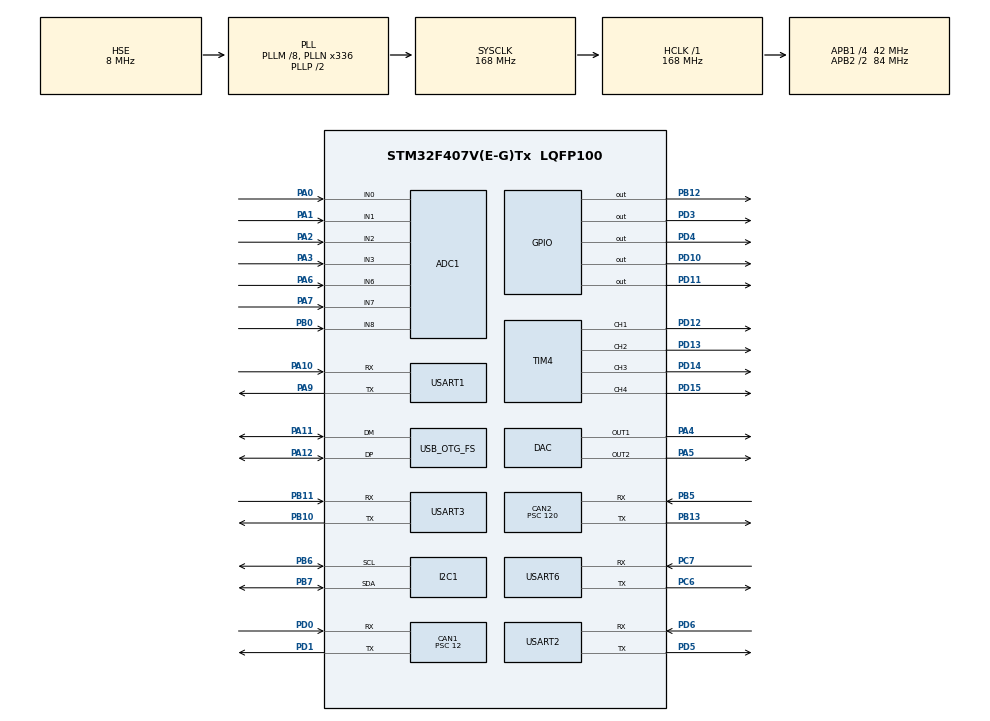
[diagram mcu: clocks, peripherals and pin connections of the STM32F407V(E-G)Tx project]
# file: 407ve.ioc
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ADC1.Channel-1\#ChannelRegularConversion=ADC_CHANNEL_0
ADC1.ContinuousConvMode=ENABLE
ADC1.NbrOfConversion=1
ADC1.NbrOfConversionFlag=1
ADC1.Rank-1\#ChannelRegularConversion=1
ADC1.SamplingTime-1\#ChannelRegularConversion=ADC_SAMPLETIME_15CYCLES
ADC1.ScanConvMode=DISABLE
ADC1.master=1
CAN1.ABOM=ENABLE
CAN1.AWUM=ENABLE
CAN1.BS1=CAN_BS1_4TQ
CAN1.BS2=CAN_BS2_2TQ
CAN1.CalculateBaudRate=500000
CAN1.CalculateTimeBit=2000
CAN1.CalculateTimeQuantum=285.7142857142857
CAN1.NART=ENABLE
CAN1.Prescaler=12
CAN2.ABOM=ENABLE
CAN2.AWUM=ENABLE
CAN2.BS1=CAN_BS1_3TQ
CAN2.BS2=CAN_BS2_3TQ
CAN2.CalculateBaudRate=50000
CAN2.CalculateTimeBit=20000
CAN2.CalculateTimeQuantum=2857.1428571428573
CAN2.Prescaler=120
CAN2.TTCM=DISABLE
Mcu.Family=STM32F4
Mcu.Name=STM32F407V(E-G)Tx
Mcu.Package=LQFP100
NVIC.CAN1_RX0_IRQn=true\:0\:0\:false\:false\:true\:true\:true\:true
NVIC.OTG_FS_IRQn=true\:0\:0\:false\:false\:true\:false\:true\:true
NVIC.PriorityGroup=NVIC_PRIORITYGROUP_4
PA0-WKUP.Signal=ADCx_IN0
PA1.Signal=ADCx_IN1
PA10.Mode=Asynchronous
PA10.Signal=USART1_RX
PA11.Mode=Device_Only
PA11.Signal=USB_OTG_FS_DM
PA12.Mode=Device_Only
PA12.Signal=USB_OTG_FS_DP
PA13.Mode=Serial_Wire
PA13.Signal=SYS_JTMS-SWDIO
PA14.Mode=Serial_Wire
PA14.Signal=SYS_JTCK-SWCLK
PA2.Signal=ADCx_IN2
PA3.Signal=ADCx_IN3
PA4.Signal=COMP_DAC1_group
PA5.Signal=COMP_DAC2_group
PA6.Signal=ADCx_IN6
PA7.Signal=ADCx_IN7
PA9.Mode=Asynchronous
PA9.Signal=USART1_TX
PB0.Signal=ADCx_IN8
PB10.Mode=Asynchronous
PB10.Signal=USART3_TX
PB11.Mode=Asynchronous
PB11.Signal=USART3_RX
PB12.Signal=GPIO_Output
PB13.Mode=CAN_Activate
PB13.Signal=CAN2_TX
PB5.Mode=CAN_Activate
PB5.Signal=CAN2_RX
PB6.Mode=I2C
PB6.Signal=I2C1_SCL
PB7.Mode=I2C
PB7.Signal=I2C1_SDA
PC6.Mode=Asynchronous
PC6.Signal=USART6_TX
PC7.Mode=Asynchronous
PC7.Signal=USART6_RX
PD0.Mode=CAN_Activate
PD0.Signal=CAN1_RX
PD1.Mode=CAN_Activate
PD1.Signal=CAN1_TX
PD10.Signal=GPIO_Output
PD11.Signal=GPIO_Output
PD12.Signal=S_TIM4_CH1
PD13.Signal=S_TIM4_CH2
PD14.Signal=S_TIM4_CH3
PD15.Signal=S_TIM4_CH4
PD3.Signal=GPIO_Output
PD4.Signal=GPIO_Output
PD5.Mode=Asynchronous
PD5.Signal=USART2_TX
PD6.Mode=Asynchronous
PD6.Signal=USART2_RX
PH0-OSC_IN.Mode=HSE-External-Oscillator
PH0-OSC_IN.Signal=RCC_OSC_IN
PH1-OSC_OUT.Mode=HSE-External-Oscillator
PH1-OSC_OUT.Signal=RCC_OSC_OUT
ProjectManager.HeapSize=0x2000
ProjectManager.StackSize=0x1400
ProjectManager.TargetToolchain=STM32CubeIDE
RCC.48MHZClocksFreq_Value=48000000
RCC.AHBFreq_Value=168000000
RCC.APB1CLKDivider=RCC_HCLK_DIV4
RCC.APB1Freq_Value=42000000
RCC.APB1TimFreq_Value=84000000
RCC.APB2CLKDivider=RCC_HCLK_DIV2
RCC.APB2Freq_Value=84000000
RCC.APB2TimFreq_Value=168000000
RCC.CortexFreq_Value=168000000
RCC.HCLKFreq_Value=168000000
RCC.HSE_VALUE=8000000
RCC.HSI_VALUE=16000000
RCC.LSE_VALUE=32768
RCC.PLLM=8
RCC.PLLN=336
RCC.PLLQ=7
RCC.SYSCLKFreq_VALUE=168000000
RCC.SYSCLKSource=RCC_SYSCLKSOURCE_PLLCLK
RCC.VCOOutputFreq_Value=336000000
SH.ADCx_IN0.0=ADC1_IN0,IN0
SH.ADCx_IN1.0=ADC1_IN1,IN1
SH.ADCx_IN2.0=ADC1_IN2,IN2
SH.ADCx_IN3.0=ADC1_IN3,IN3
SH.ADCx_IN6.0=ADC1_IN6,IN6
SH.ADCx_IN7.0=ADC1_IN7,IN7
SH.ADCx_IN8.0=ADC1_IN8,IN8
SH.COMP_DAC1_group.0=DAC_OUT1,DAC_OUT1
SH.COMP_DAC2_group.0=DAC_OUT2,DAC_OUT2
SH.S_TIM4_CH1.0=TIM4_CH1,PWM Generation1 CH1
SH.S_TIM4_CH2.0=TIM4_CH2,PWM Generation2 CH2
SH.S_TIM4_CH3.0=TIM4_CH3,PWM Generation3 CH3
SH.S_TIM4_CH4.0=TIM4_CH4,PWM Generation4 CH4
TIM4.Channel-PWM\ Generation1\ CH1=TIM_CHANNEL_1
TIM4.Channel-PWM\ Generation2\ CH2=TIM_CHANNEL_2
TIM4.Channel-PWM\ Generation3\ CH3=TIM_CHANNEL_3
TIM4.Channel-PWM\ Generation4\ CH4=TIM_CHANNEL_4
USART1.VirtualMode=VM_ASYNC
USART2.VirtualMode=VM_ASYNC
USART3.VirtualMode=VM_ASYNC
USART6.VirtualMode=VM_ASYNC
USB_DEVICE.CLASS_NAME_FS=CDC
USB_DEVICE.VirtualMode-CDC_FS=Cdc
USB_DEVICE.VirtualModeFS=Cdc_FS
USB_OTG_FS.VirtualMode=Device_Only
VP_USB_DEVICE_VS_USB_DEVICE_CDC_FS.Mode=CDC_FS
board=custom

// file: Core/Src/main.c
/* USER CODE BEGIN Header */
/**
  ******************************************************************************
  * @file           : main.c
  * @brief          : Main program body
  ******************************************************************************
  * @attention
  *
  * Copyright (c) 2023 STMicroelectronics.
  * All rights reserved.
  *
  * This software is licensed under terms that can be found in the LICENSE file
  * in the root directory of this software component.
  * If no LICENSE file comes with this software, it is provided AS-IS.
  *
  ******************************************************************************
  */
/* USER CODE END Header */
#include "main.h"
#include "usb_device.h"

/* USER CODE BEGIN Includes */
#include "math.h"
#include "stm32_port.h"
#include "esp_loader.h"
#include "example_common.h"
/* USER CODE END Includes */

/* USER CODE BEGIN PD */
#define HIGHER_BAUDRATE 230400

#define OFF_POWER	HAL_GPIO_WritePin(GPIOB, GPIO_PIN_12, GPIO_PIN_RESET)
#define ON_POWER	HAL_GPIO_WritePin(GPIOB, GPIO_PIN_12, GPIO_PIN_SET)
#define HOLD_ESP_IO0		HAL_GPIO_WritePin(GPIOD, GPIO_PIN_4, GPIO_PIN_SET)
#define RELEASE_ESP_IO0		HAL_GPIO_WritePin(GPIOD, GPIO_PIN_4, GPIO_PIN_RESET)

//#define _DEBUG_
//#define TEST_CAN
/* USER CODE END PD */

ADC_HandleTypeDef hadc1;

CAN_HandleTypeDef hcan1;
CAN_HandleTypeDef hcan2;

DAC_HandleTypeDef hdac;

I2C_HandleTypeDef hi2c1;

TIM_HandleTypeDef htim4;

UART_HandleTypeDef huart1;
UART_HandleTypeDef huart2;
UART_HandleTypeDef huart3;
UART_HandleTypeDef huart6;

/* USER CODE BEGIN PV */
extern uint8_t fTransmitCpt;
extern uint8_t fESPFlashProcess;
extern uint8_t uBuf[1024];
extern uint16_t current_len;
extern uint32_t written_len;
extern uint32_t binary_len;
extern uint8_t flash_block_len;

extern const uint8_t BlinkESP_ino_bin[];
extern const uint32_t BlinkESP_ino_bin_size ;
extern const uint8_t BlinkESP_ino_bootloader_bin[];
extern const uint32_t BlinkESP_ino_bootloader_bin_size ;
extern const uint8_t BlinkESP_ino_partitions_bin[];
extern const uint32_t BlinkESP_ino_partitions_bin_size ;

uint8_t APPICATION_ROM_1[1024];
uint8_t APPICATION_ROM_1[1024];
uint8_t APPICATION_ROM_1[1024];
uint8_t APPICATION_ROM_1[1024];
uint8_t APPICATION_ROM_1[1024];

/* USER CODE END PV */

void SystemClock_Config(void);
static void MX_GPIO_Init(void);
static void MX_ADC1_Init(void);
static void MX_DAC_Init(void);
static void MX_I2C1_Init(void);
static void MX_TIM4_Init(void);
static void MX_USART1_UART_Init(void);
static void MX_USART2_UART_Init(void);
static void MX_USART3_UART_Init(void);
static void MX_USART6_UART_Init(void);
static void MX_CAN1_Init(void);
static void MX_CAN2_Init(void);
/* USER CODE BEGIN PFP */
extern uint8_t CDC_Transmit_FS(uint8_t* Buf, uint16_t Len);
extern uint8_t SMV_Step;

#ifdef _DEBUG_
uint8_t debug_buf[4000] = {};
#endif

esp_loader_error_t ESP_FLASH_Start(uint32_t address, uint32_t size);
esp_loader_error_t ESP_FLASH_WriteBlock(uint8_t* payload, uint32_t size);
/* USER CODE END PFP */

/* USER CODE BEGIN 0 */
/*
 * Brief	: Copy len bytes of s to t from offset
 * @Param	: Source buffer
 * @Param	: Target buffer
 */
static void omemcpy(uint8_t *s, uint8_t *t, uint8_t offset, uint32_t len)
{
	for(uint32_t i = 0; i < len; i++)
	{
		t[i + offset] = s[i];
	}
}
/*
 * Brief	: Switch ADC channel, poll, get value
 * @Param	: ADC Channel
 * @retval	: 16bit ADC Value
 */
static uint16_t ADC_GetValueFromChannel(uint32_t c)
{
	/** Configure for the selected ADC regular channel its corresponding rank in the sequencer and its sample time.
  */
	HAL_ADC_Stop(&hadc1);
//	HAL_ADC_DeInit(&hadc1);
//	  /** Configure the global features of the ADC (Clock, Resolution, Data Alignment and number of conversion)
//	  */
//	  hadc1.Instance = ADC1;
//	  hadc1.Init.ClockPrescaler = ADC_CLOCK_SYNC_PCLK_DIV4;
//	  hadc1.Init.Resolution = ADC_RESOLUTION_12B;
//	  hadc1.Init.ScanConvMode = DISABLE;
//	  hadc1.Init.ContinuousConvMode = ENABLE;
//	  hadc1.Init.DiscontinuousConvMode = DISABLE;
//	  hadc1.Init.ExternalTrigConvEdge = ADC_EXTERNALTRIGCONVEDGE_NONE;
//	  hadc1.Init.ExternalTrigConv = ADC_SOFTWARE_START;
//	  hadc1.Init.DataAlign = ADC_DATAALIGN_RIGHT;
//	  hadc1.Init.NbrOfConversion = 1;
//	  hadc1.Init.DMAContinuousRequests = DISABLE;
//	  hadc1.Init.EOCSelection = ADC_EOC_SINGLE_CONV;
//	  if (HAL_ADC_Init(&hadc1) != HAL_OK)
//	  {
//	    Error_Handler();
//	  }

  ADC_ChannelConfTypeDef sConfig = {0};

  sConfig.Channel = c;
  sConfig.Rank = 1;
  sConfig.SamplingTime = ADC_SAMPLETIME_15CYCLES;

  if (HAL_ADC_ConfigChannel(&hadc1, &sConfig) != HAL_OK)
  {
	Error_Handler();
  }

  HAL_ADC_Start(&hadc1);
  HAL_ADC_PollForConversion(&hadc1, 1000);
  return HAL_ADC_GetValue(&hadc1);

}

CAN_TxHeaderTypeDef	TxHeader;
CAN_RxHeaderTypeDef	RxHeader;

uint32_t TxMailBox;
uint8_t CANTx_Dat[8], CANRx_Dat[8];

#ifdef TEST_CAN
uint16_t joystickAdcValue = 0, joystickbalanceAdcValue = 0;
/*
 * @brief: Convert from CAN frame to CANopen Frame
 * @param: id: Node ID
 * @param: index: 2bytes index + 1byte sub index
 * @param: data: maximum 4bytes of transceiving data
 * @param: len: data lenght, maximum 4 bytes
 * @param: rw: 0 to read (x40), 1 to write (x20)
 * @reval: HAL_Status
 */
HAL_StatusTypeDef CANopenSendSDO(uint8_t id, uint32_t index, uint32_t data, uint8_t len, uint8_t rw)
{
	uint8_t txbuf[8];
	TxHeader.DLC = 8;
	TxHeader.IDE = CAN_ID_STD;

	TxHeader.RTR = CAN_RTR_DATA;//sending data frame
	TxHeader.TransmitGlobalTime = DISABLE;
	TxHeader.StdId = 0x600+id;
	txbuf[0] = 0x2F;
	if(!rw) txbuf[0] = 0x4F;
	if(len == 2) txbuf[0] &= 0xFB;
	else if(len == 4) txbuf[0] &= 0xF3;

	txbuf[1] = (index>>8)&0xff;
	txbuf[2] = (index>>16)&0xff;
	txbuf[3] = index&0xff;

	txbuf[4] = data & 0xff;
	txbuf[5] = (data>>8)&0xff;
	txbuf[6] = (data>>16)&0xff;
	txbuf[7] = (data>>24)&0xff;
	return HAL_CAN_AddTxMessage(&hcan1, &TxHeader, txbuf, &TxMailBox);;
}
#endif
/* USER CODE END 0 */

int main(void)
{

  /* MCU Configuration--------------------------------------------------------*/

  /* Reset of all peripherals, Initializes the Flash interface and the Systick. */
  HAL_Init();

  /* Configure the system clock */
  SystemClock_Config();

  /* Initialize all configured peripherals */
  MX_GPIO_Init();
  MX_ADC1_Init();
  MX_DAC_Init();
  MX_I2C1_Init();
  MX_TIM4_Init();
  MX_USART1_UART_Init();
  MX_USART2_UART_Init();
  MX_USART3_UART_Init();
  MX_USART6_UART_Init();
  MX_USB_DEVICE_Init();
  MX_CAN1_Init();
  MX_CAN2_Init();
  /* USER CODE BEGIN 2 */

  /*
   * Initiate INA module
   */
  setCalibration_32V_2A();

  loader_stm32_config_t config = {
      .huart = &huart2,
      .port_io0 = GPIOD,
      .pin_num_io0 = GPIO_PIN_4,
      .port_rst = GPIOD,
      .pin_num_rst = GPIO_PIN_3,
  };

  loader_port_stm32_init(&config);

  uint16_t v = 0;
  uint8_t TxBuf[17] = "$             #\n\r",\
		  substr[11];

  OFF_POWER;

#ifdef TEST_CAN
  //Test CAN
HAL_CAN_ActivateNotification(&hcan1, CAN_IT_RX_FIFO0_MSG_PENDING);
HAL_CAN_Start(&hcan1);

////Boot up:
TxHeader.DLC = 8;
TxHeader.IDE = CAN_ID_STD;
TxHeader.StdId = 601;
TxHeader.RTR = CAN_RTR_DATA;//sending data frame
TxHeader.TransmitGlobalTime = DISABLE;
//CANTx_Dat[0] = 1;
//CANTx_Dat[1] = 1;
//HAL_CAN_AddTxMessage(&hcan1, &TxHeader, CANTx_Dat, &TxMailBox);
//
TxHeader.DLC = 8;
TxHeader.IDE = CAN_ID_STD;
TxHeader.RTR = CAN_RTR_DATA;//sending data frame
//TxHeader.StdId = 0x601;
//
//CANTx_Dat[0] = 0x2B;
//CANTx_Dat[1] = 0x40;
//CANTx_Dat[2] = 0x60;
//CANTx_Dat[3] = 0x00;
//CANTx_Dat[4] = 0x2F;
//CANTx_Dat[5] = 0x00;
//CANTx_Dat[6] = 0x00;
//CANTx_Dat[7] = 0x00;
//
//HAL_CAN_AddTxMessage(&hcan1, &TxHeader, CANTx_Dat, &TxMailBox);

//Enable Motor;
CANopenSendSDO(1, 0x604000, 0x2F, 2, 1);

//Set operation mode to Speed mode
CANopenSendSDO(1, 0x606000, 3, 1, 1);
joystickbalanceAdcValue = ADC_GetValueFromChannel(ADC_CHANNEL_8);
#endif
  /* USER CODE END 2 */

  /* Infinite loop */
  while (1)
  {

    /* USER CODE BEGIN 3 */
//	  CANopenSendSDO(1, 0x604000, 0x06, 2, 1);
#ifdef TEST_CAN
	  joystickAdcValue = ADC_GetValueFromChannel(ADC_CHANNEL_8);

	  if(joystickAdcValue > joystickbalanceAdcValue)
	  {
		  //Rotate Motor CW
		  CANopenSendSDO(1, 0x607E00, 0, 1, 1);
		  //Set target speed
		  uint16_t speed = joystickAdcValue - joystickbalanceAdcValue;
		  if(speed > 2000) speed = 2000;
		  if(speed < 100) speed = 0;
		  CANopenSendSDO(1, 0x60FF00, speed*2000, 4, 1);
	  }
	  else
	  {
		  //Rotate Motor CCW
		  CANopenSendSDO(1, 0x607E00, 1, 1, 1);
		  //Set target speed
		  uint16_t speed = joystickbalanceAdcValue - joystickAdcValue;
		  if(speed > 2000) speed = 2000;
		  if(speed < 100) speed = 0;
		  CANopenSendSDO(1, 0x60FF00, speed*2000, 4, 1);
	  }
#endif
//

	  switch(SMV_Step)
	  {
	  case IDLE:
		  break;
	  case POWER_ON:
		  ON_POWER;
		  HAL_Delay(200);
		  CDC_Transmit_FS((uint8_t*) "$PG           #\n\r", 17);
		  break;
	  case POWER_OFF:
		  OFF_POWER;
		  CDC_Transmit_FS((uint8_t*) "$PG           #\n\r", 17);
		  break;
	  case CHECK_CURRENT:

		  if(HAL_GPIO_ReadPin(GPIOB, GPIO_PIN_12) == GPIO_PIN_SET)
		  {
			  ON_POWER;
			  HAL_Delay(1000);
		  }

		  v = (uint16_t) getCurrent_mA();
		  //v = (uint16_t) lround((double)getCurrent_mA());
//		  v= getBusVoltage_V();
//		  v = 1234;//Test

		  if(v > 2000)//Overload:
		  {
			  //Turn off relay
			  OFF_POWER;
		  }
		  sprintf(substr, "%4u       ", v);
		  omemcpy(substr, TxBuf, 2, 11);
		  TxBuf[0] = '$';
		  TxBuf[1] = 'C';
		  CDC_Transmit_FS( TxBuf, 17);
		  SMV_Step = IDLE;
		  break;

	  case CHECK_5V:
		  v = ADC_GetValueFromChannel(ADC_CHANNEL_0);//4096 max
		  sprintf(substr, "%4u       ", v);
		  omemcpy(substr, TxBuf, 2, 11);
		  TxBuf[1] = 'A';
		  CDC_Transmit_FS( TxBuf, 17);
		  SMV_Step = IDLE;
		  break;
	  case CHECK_4V2:
		  v = ADC_GetValueFromChannel(ADC_CHANNEL_1);//4096 max
		  sprintf(substr, "%4u       ", v);
		  omemcpy(substr, TxBuf, 2, 11);
		  TxBuf[1] = 'B';
		  CDC_Transmit_FS( TxBuf, 17);
		  SMV_Step = IDLE;
		  break;
	  case CHECK_3V3:
		  v = ADC_GetValueFromChannel(ADC_CHANNEL_2);//4096 max
		  sprintf(substr, "%4u       ", v);
		  omemcpy(substr, TxBuf, 2, 11);
		  TxBuf[1] = 'D';
		  CDC_Transmit_FS( TxBuf, 17);

		  SMV_Step = IDLE;
		  break;
	  case CONNECT_ESP:
		  //Hold ESP32's GPIO0 to ground then reset
		  OFF_POWER;
		  HOLD_ESP_IO0;
		  HAL_Delay(1000);
		  ON_POWER;
		  HAL_Delay(1000);
		  if (connect_to_target(HIGHER_BAUDRATE) == ESP_LOADER_SUCCESS) {
			  target_chip_t target = esp_loader_get_target();
			  if(target == ESP32_CHIP)
			  {
				  CDC_Transmit_FS((uint8_t*) "$FG           #\n\r", 17);
			  }
			  else CDC_Transmit_FS((uint8_t*) "$FE           #\n\r", 17);
		  }
		  else CDC_Transmit_FS((uint8_t*) "$FE           #\n\r", 17);
		  SMV_Step = IDLE;
		  break;

	  case RESET_ESP:
		  //Hold ESP32's GPIO0 to ground then reset
		  RELEASE_ESP_IO0;
		  OFF_POWER;
		  HAL_Delay(500);
		  ON_POWER;
		  HAL_Delay(1000);
		  if (connect_to_target(HIGHER_BAUDRATE) == ESP_LOADER_SUCCESS) {
			  CDC_Transmit_FS((uint8_t*) "$FE           #\n\r", 17);
		  }
		  else CDC_Transmit_FS((uint8_t*) "$FG           #\n\r", 17);
		  SMV_Step = IDLE;
		  break;

	  case START_FLASH_BOOTLOADER:
		  break;
	  case CHECK_RELAY:

		  break;

#ifdef _DEBUG_
		  CDC_Transmit_FS((uint8_t*) "$FG           #\n\r", 17);
#else

		  if (connect_to_target(HIGHER_BAUDRATE) == ESP_LOADER_SUCCESS) {
			  target_chip_t target = esp_loader_get_target();
			  if(target == ESP32_CHIP)
			  {
				  if(ESP_FLASH_Start(BOOTLOADER_ADDRESS_V0, binary_len) != ESP_LOADER_SUCCESS)
				  {
					  CDC_Transmit_FS((uint8_t*) "$FE           #\n\r", 17);
				  }
//				  if(flash_binary(BlinkESP_ino_bootloader_bin, BlinkESP_ino_bootloader_bin_size , BOOTLOADER_ADDRESS_V0) != ESP_LOADER_SUCCESS)
//				  {
//					  CDC_Transmit_FS((uint8_t*) "$FE           #\n\r", 17);
//				  }else CDC_Transmit_FS((uint8_t*) "$FG           #\n\r", 17);
//				  if(flash_binary(BlinkESP_ino_partitions_bin, BlinkESP_ino_partitions_bin_size , PARTITION_ADDRESS) != ESP_LOADER_SUCCESS)
//				  {
//					  CDC_Transmit_FS((uint8_t*) "$FE           #\n\r", 17);
//				  }else CDC_Transmit_FS((uint8_t*) "$FG           #\n\r", 17);
//				  if(flash_binary(BlinkESP_ino_bin, BlinkESP_ino_bin_size , APPLICATION_ADDRESS) != ESP_LOADER_SUCCESS)
//				  {
//					  CDC_Transmit_FS((uint8_t*) "$FE           #\n\r", 17);
//				  }
				  else CDC_Transmit_FS((uint8_t*) "$FG           #\n\r", 17);
			  }
		  }
		  else CDC_Transmit_FS((uint8_t*) "$FE           #\n\r", 17);
#endif
		  SMV_Step = IDLE;
		  break;

	  case START_FLASH_PARTITION:
		  if (connect_to_target(HIGHER_BAUDRATE) == ESP_LOADER_SUCCESS) {
			  target_chip_t target = esp_loader_get_target();
			  if(target == ESP32_CHIP)
			  {
				  if(ESP_FLASH_Start(PARTITION_ADDRESS, binary_len) != ESP_LOADER_SUCCESS)
//				  if(flash_binary(Partition, Partition_size, PARTITION_ADDRESS) != ESP_LOADER_SUCCESS)
				  {
					  CDC_Transmit_FS((uint8_t*) "$FE           #\n\r", 17);
				  }
				  else CDC_Transmit_FS((uint8_t*) "$FG           #\n\r", 17);
			  }
		  }
		  else CDC_Transmit_FS((uint8_t*) "$FE           #\n\r", 17);
		  SMV_Step = IDLE;
		  break;
	  case START_FLASH_APP:
		  if (connect_to_target(HIGHER_BAUDRATE) == ESP_LOADER_SUCCESS) {
			  target_chip_t target = esp_loader_get_target();
			  if(target == ESP32_CHIP)
			  {
				  if(ESP_FLASH_Start(APPLICATION_ADDRESS, binary_len) != ESP_LOADER_SUCCESS)
				  //if(flash_binary(Application, Application_size, APPLICATION_ADDRESS) != ESP_LOADER_SUCCESS)
				  {
					  CDC_Transmit_FS((uint8_t*) "$FE           #\n\r", 17);
				  }
				  else CDC_Transmit_FS((uint8_t*) "$FG           #\n\r", 17);
			  }
		  }
		  else CDC_Transmit_FS((uint8_t*) "$FE           #\n\r", 17);
		  SMV_Step = IDLE;
		  break;
	  case RECEIVE_BIN:
		  if(fESPFlashProcess)
		  {
			  esp_loader_error_t err;
			  err = esp_loader_flash_write(uBuf, current_len);
			  if (err != ESP_LOADER_SUCCESS) {
				  CDC_Transmit_FS((uint8_t*) "$FE           #\n\r", 17);
				  SMV_Step = IDLE;
			  }
			  else
			  {
				  written_len += current_len;
				  fESPFlashProcess = 0;
			  }

//			  HAL_UART_Receive(&huart2, pData, Size, Timeout)
//			  CDC_Transmit_FS((uint8_t*) "$FG           #\n\r", 17);
//			  if(ESP_FLASH_WriteBlock(uBuf, flash_block_len) != ESP_LOADER_SUCCESS)
//			  {
//				  CDC_Transmit_FS((uint8_t*) "$FE           #\n\r", 17);
//				  SMV_Step = IDLE;
//			  }
//			  else CDC_Transmit_FS((uint8_t*) "$FG           #\n\r", 17);

		  }
		  break;

//	  case FLASH_ESP:
//		  //Test uBuf:
//		  //printf(uBuf);
//		  for(uint16_t i = 0; i < 2000; i++)
//		  {
//			  debug_buf[i] = uBuf[i];
//		  }
//
//		  if (connect_to_target(HIGHER_BAUDRATE) == ESP_LOADER_SUCCESS) {
//			  target_chip_t target = esp_loader_get_target();
//			  if(target == ESP32_CHIP)
//			  {
//
//				  flash_binary(uBuf, bin_len, BOOTLOADER_ADDRESS_V0);
//			  }
//		  }
//		  else SMV_Step = IDLE;
//		  	  free(uBuf);
//		  break;

	  }

  }
  /* USER CODE END 3 */
}

void SystemClock_Config(void)
{
  RCC_OscInitTypeDef RCC_OscInitStruct = {0};
  RCC_ClkInitTypeDef RCC_ClkInitStruct = {0};

  /** Configure the main internal regulator output voltage
  */
  __HAL_RCC_PWR_CLK_ENABLE();
  __HAL_PWR_VOLTAGESCALING_CONFIG(PWR_REGULATOR_VOLTAGE_SCALE1);

  /** Initializes the RCC Oscillators according to the specified parameters
  * in the RCC_OscInitTypeDef structure.
  */
  RCC_OscInitStruct.OscillatorType = RCC_OSCILLATORTYPE_HSE;
  RCC_OscInitStruct.HSEState = RCC_HSE_ON;
  RCC_OscInitStruct.PLL.PLLState = RCC_PLL_ON;
  RCC_OscInitStruct.PLL.PLLSource = RCC_PLLSOURCE_HSE;
  RCC_OscInitStruct.PLL.PLLM = 8;
  RCC_OscInitStruct.PLL.PLLN = 336;
  RCC_OscInitStruct.PLL.PLLP = RCC_PLLP_DIV2;
  RCC_OscInitStruct.PLL.PLLQ = 7;
  if (HAL_RCC_OscConfig(&RCC_OscInitStruct) != HAL_OK)
  {
    Error_Handler();
  }

  /** Initializes the CPU, AHB and APB buses clocks
  */
  RCC_ClkInitStruct.ClockType = RCC_CLOCKTYPE_HCLK|RCC_CLOCKTYPE_SYSCLK
                              |RCC_CLOCKTYPE_PCLK1|RCC_CLOCKTYPE_PCLK2;
  RCC_ClkInitStruct.SYSCLKSource = RCC_SYSCLKSOURCE_PLLCLK;
  RCC_ClkInitStruct.AHBCLKDivider = RCC_SYSCLK_DIV1;
  RCC_ClkInitStruct.APB1CLKDivider = RCC_HCLK_DIV4;
  RCC_ClkInitStruct.APB2CLKDivider = RCC_HCLK_DIV2;

  if (HAL_RCC_ClockConfig(&RCC_ClkInitStruct, FLASH_LATENCY_5) != HAL_OK)
  {
    Error_Handler();
  }
}

static void MX_ADC1_Init(void)
{

  ADC_ChannelConfTypeDef sConfig = {0};

  /** Configure the global features of the ADC (Clock, Resolution, Data Alignment and number of conversion)
  */
  hadc1.Instance = ADC1;
  hadc1.Init.ClockPrescaler = ADC_CLOCK_SYNC_PCLK_DIV4;
  hadc1.Init.Resolution = ADC_RESOLUTION_12B;
  hadc1.Init.ScanConvMode = DISABLE;
  hadc1.Init.ContinuousConvMode = ENABLE;
  hadc1.Init.DiscontinuousConvMode = DISABLE;
  hadc1.Init.ExternalTrigConvEdge = ADC_EXTERNALTRIGCONVEDGE_NONE;
  hadc1.Init.ExternalTrigConv = ADC_SOFTWARE_START;
  hadc1.Init.DataAlign = ADC_DATAALIGN_RIGHT;
  hadc1.Init.NbrOfConversion = 1;
  hadc1.Init.DMAContinuousRequests = DISABLE;
  hadc1.Init.EOCSelection = ADC_EOC_SINGLE_CONV;
  if (HAL_ADC_Init(&hadc1) != HAL_OK)
  {
    Error_Handler();
  }

  /** Configure for the selected ADC regular channel its corresponding rank in the sequencer and its sample time.
  */
  sConfig.Channel = ADC_CHANNEL_0;
  sConfig.Rank = 1;
  sConfig.SamplingTime = ADC_SAMPLETIME_15CYCLES;
  if (HAL_ADC_ConfigChannel(&hadc1, &sConfig) != HAL_OK)
  {
    Error_Handler();
  }

}

static void MX_CAN1_Init(void)
{

  /* USER CODE BEGIN CAN1_Init 0 */
	hcan1.Instance = CAN1;
  /* USER CODE END CAN1_Init 0 */

  hcan1.Instance = CAN1;
  hcan1.Init.Prescaler = 12;
  hcan1.Init.Mode = CAN_MODE_NORMAL;
  hcan1.Init.SyncJumpWidth = CAN_SJW_1TQ;
  hcan1.Init.TimeSeg1 = CAN_BS1_4TQ;
  hcan1.Init.TimeSeg2 = CAN_BS2_2TQ;
  hcan1.Init.TimeTriggeredMode = DISABLE;
  hcan1.Init.AutoBusOff = ENABLE;
  hcan1.Init.AutoWakeUp = ENABLE;
  hcan1.Init.AutoRetransmission = ENABLE;
  hcan1.Init.ReceiveFifoLocked = DISABLE;
  hcan1.Init.TransmitFifoPriority = DISABLE;
  if (HAL_CAN_Init(&hcan1) != HAL_OK)
  {
    Error_Handler();
  }
  /* USER CODE BEGIN CAN1_Init 2 */
//CAN_FilterTypeDef CAN_Filter;
//CAN_Filter.FilterActivation = CAN_FILTER_ENABLE;
//CAN_Filter.FilterBank = 18;
//CAN_Filter.FilterFIFOAssignment = CAN_FILTER_FIFO0;
//CAN_Filter.FilterIdHigh = 0x581 << 5;
//CAN_Filter.FilterIdLow = 0;
//CAN_Filter.FilterMaskIdHigh = 0xFFFF << 5;
//CAN_Filter.FilterMaskIdLow = 0xFFFF;
//CAN_Filter.FilterMode = CAN_FILTERMODE_IDMASK;
//CAN_Filter.FilterScale = CAN_FILTERSCALE_32BIT;
//CAN_Filter.SlaveStartFilterBank = 20;
//
//HAL_CAN_ConfigFilter(&hcan1, &CAN_Filter);
  /* USER CODE END CAN1_Init 2 */

}

static void MX_CAN2_Init(void)
{

  hcan2.Instance = CAN2;
  hcan2.Init.Prescaler = 120;
  hcan2.Init.Mode = CAN_MODE_NORMAL;
  hcan2.Init.SyncJumpWidth = CAN_SJW_1TQ;
  hcan2.Init.TimeSeg1 = CAN_BS1_3TQ;
  hcan2.Init.TimeSeg2 = CAN_BS2_3TQ;
  hcan2.Init.TimeTriggeredMode = DISABLE;
  hcan2.Init.AutoBusOff = ENABLE;
  hcan2.Init.AutoWakeUp = ENABLE;
  hcan2.Init.AutoRetransmission = DISABLE;
  hcan2.Init.ReceiveFifoLocked = DISABLE;
  hcan2.Init.TransmitFifoPriority = DISABLE;
  if (HAL_CAN_Init(&hcan2) != HAL_OK)
  {
    Error_Handler();
  }

}

static void MX_DAC_Init(void)
{

  DAC_ChannelConfTypeDef sConfig = {0};

  /** DAC Initialization
  */
  hdac.Instance = DAC;
  if (HAL_DAC_Init(&hdac) != HAL_OK)
  {
    Error_Handler();
  }

  /** DAC channel OUT1 config
  */
  sConfig.DAC_Trigger = DAC_TRIGGER_NONE;
  sConfig.DAC_OutputBuffer = DAC_OUTPUTBUFFER_ENABLE;
  if (HAL_DAC_ConfigChannel(&hdac, &sConfig, DAC_CHANNEL_1) != HAL_OK)
  {
    Error_Handler();
  }

  /** DAC channel OUT2 config
  */
  if (HAL_DAC_ConfigChannel(&hdac, &sConfig, DAC_CHANNEL_2) != HAL_OK)
  {
    Error_Handler();
  }

}

static void MX_I2C1_Init(void)
{

  hi2c1.Instance = I2C1;
  hi2c1.Init.ClockSpeed = 100000;
  hi2c1.Init.DutyCycle = I2C_DUTYCYCLE_2;
  hi2c1.Init.OwnAddress1 = 0;
  hi2c1.Init.AddressingMode = I2C_ADDRESSINGMODE_7BIT;
  hi2c1.Init.DualAddressMode = I2C_DUALADDRESS_DISABLE;
  hi2c1.Init.OwnAddress2 = 0;
  hi2c1.Init.GeneralCallMode = I2C_GENERALCALL_DISABLE;
  hi2c1.Init.NoStretchMode = I2C_NOSTRETCH_DISABLE;
  if (HAL_I2C_Init(&hi2c1) != HAL_OK)
  {
    Error_Handler();
  }

}

static void MX_TIM4_Init(void)
{

  TIM_MasterConfigTypeDef sMasterConfig = {0};
  TIM_OC_InitTypeDef sConfigOC = {0};

  htim4.Instance = TIM4;
  htim4.Init.Prescaler = 0;
  htim4.Init.CounterMode = TIM_COUNTERMODE_UP;
  htim4.Init.Period = 65535;
  htim4.Init.ClockDivision = TIM_CLOCKDIVISION_DIV1;
  htim4.Init.AutoReloadPreload = TIM_AUTORELOAD_PRELOAD_DISABLE;
  if (HAL_TIM_PWM_Init(&htim4) != HAL_OK)
  {
    Error_Handler();
  }
  sMasterConfig.MasterOutputTrigger = TIM_TRGO_RESET;
  sMasterConfig.MasterSlaveMode = TIM_MASTERSLAVEMODE_DISABLE;
  if (HAL_TIMEx_MasterConfigSynchronization(&htim4, &sMasterConfig) != HAL_OK)
  {
    Error_Handler();
  }
  sConfigOC.OCMode = TIM_OCMODE_PWM1;
  sConfigOC.Pulse = 0;
  sConfigOC.OCPolarity = TIM_OCPOLARITY_HIGH;
  sConfigOC.OCFastMode = TIM_OCFAST_DISABLE;
  if (HAL_TIM_PWM_ConfigChannel(&htim4, &sConfigOC, TIM_CHANNEL_1) != HAL_OK)
  {
    Error_Handler();
  }
  if (HAL_TIM_PWM_ConfigChannel(&htim4, &sConfigOC, TIM_CHANNEL_2) != HAL_OK)
  {
    Error_Handler();
  }
  if (HAL_TIM_PWM_ConfigChannel(&htim4, &sConfigOC, TIM_CHANNEL_3) != HAL_OK)
  {
    Error_Handler();
  }
  if (HAL_TIM_PWM_ConfigChannel(&htim4, &sConfigOC, TIM_CHANNEL_4) != HAL_OK)
  {
    Error_Handler();
  }
  HAL_TIM_MspPostInit(&htim4);

}

static void MX_USART1_UART_Init(void)
{

  huart1.Instance = USART1;
  huart1.Init.BaudRate = 115200;
  huart1.Init.WordLength = UART_WORDLENGTH_8B;
  huart1.Init.StopBits = UART_STOPBITS_1;
  huart1.Init.Parity = UART_PARITY_NONE;
  huart1.Init.Mode = UART_MODE_TX_RX;
  huart1.Init.HwFlowCtl = UART_HWCONTROL_NONE;
  huart1.Init.OverSampling = UART_OVERSAMPLING_16;
  if (HAL_UART_Init(&huart1) != HAL_OK)
  {
    Error_Handler();
  }

}

static void MX_USART2_UART_Init(void)
{

  huart2.Instance = USART2;
  huart2.Init.BaudRate = 115200;
  huart2.Init.WordLength = UART_WORDLENGTH_8B;
  huart2.Init.StopBits = UART_STOPBITS_1;
  huart2.Init.Parity = UART_PARITY_NONE;
  huart2.Init.Mode = UART_MODE_TX_RX;
  huart2.Init.HwFlowCtl = UART_HWCONTROL_NONE;
  huart2.Init.OverSampling = UART_OVERSAMPLING_16;
  if (HAL_UART_Init(&huart2) != HAL_OK)
  {
    Error_Handler();
  }

}

static void MX_USART3_UART_Init(void)
{

  huart3.Instance = USART3;
  huart3.Init.BaudRate = 115200;
  huart3.Init.WordLength = UART_WORDLENGTH_8B;
  huart3.Init.StopBits = UART_STOPBITS_1;
  huart3.Init.Parity = UART_PARITY_NONE;
  huart3.Init.Mode = UART_MODE_TX_RX;
  huart3.Init.HwFlowCtl = UART_HWCONTROL_NONE;
  huart3.Init.OverSampling = UART_OVERSAMPLING_16;
  if (HAL_UART_Init(&huart3) != HAL_OK)
  {
    Error_Handler();
  }

}

static void MX_USART6_UART_Init(void)
{

  huart6.Instance = USART6;
  huart6.Init.BaudRate = 115200;
  huart6.Init.WordLength = UART_WORDLENGTH_8B;
  huart6.Init.StopBits = UART_STOPBITS_1;
  huart6.Init.Parity = UART_PARITY_NONE;
  huart6.Init.Mode = UART_MODE_TX_RX;
  huart6.Init.HwFlowCtl = UART_HWCONTROL_NONE;
  huart6.Init.OverSampling = UART_OVERSAMPLING_16;
  if (HAL_UART_Init(&huart6) != HAL_OK)
  {
    Error_Handler();
  }

}

static void MX_GPIO_Init(void)
{
  GPIO_InitTypeDef GPIO_InitStruct = {0};

  /* GPIO Ports Clock Enable */
  __HAL_RCC_GPIOH_CLK_ENABLE();
  __HAL_RCC_GPIOA_CLK_ENABLE();
  __HAL_RCC_GPIOB_CLK_ENABLE();
  __HAL_RCC_GPIOD_CLK_ENABLE();
  __HAL_RCC_GPIOC_CLK_ENABLE();

  /*Configure GPIO pin Output Level */
  HAL_GPIO_WritePin(GPIOB, GPIO_PIN_12, GPIO_PIN_RESET);

  /*Configure GPIO pin Output Level */
  HAL_GPIO_WritePin(GPIOD, GPIO_PIN_10|GPIO_PIN_11|GPIO_PIN_3|GPIO_PIN_4, GPIO_PIN_RESET);

  /*Configure GPIO pin : PB12 */
  GPIO_InitStruct.Pin = GPIO_PIN_12;
  GPIO_InitStruct.Mode = GPIO_MODE_OUTPUT_PP;
  GPIO_InitStruct.Pull = GPIO_NOPULL;
  GPIO_InitStruct.Speed = GPIO_SPEED_FREQ_LOW;
  HAL_GPIO_Init(GPIOB, &GPIO_InitStruct);

  /*Configure GPIO pins : PD10 PD11 PD3 PD4 */
  GPIO_InitStruct.Pin = GPIO_PIN_10|GPIO_PIN_11|GPIO_PIN_3|GPIO_PIN_4;
  GPIO_InitStruct.Mode = GPIO_MODE_OUTPUT_PP;
  GPIO_InitStruct.Pull = GPIO_NOPULL;
  GPIO_InitStruct.Speed = GPIO_SPEED_FREQ_LOW;
  HAL_GPIO_Init(GPIOD, &GPIO_InitStruct);

}

/* USER CODE BEGIN 4 */
void HAL_CAN_RxFifo0MsgPendingCallback(CAN_HandleTypeDef *hcan)
{
	HAL_CAN_GetRxMessage(&hcan1, CAN_RX_FIFO0, &RxHeader, CANRx_Dat);
}

#ifdef _DEBUG_
int _write(int file, char *ptr, int len)
{
	int i = 0;
	for(i = 0; i < len; i++)
		ITM_SendChar(*ptr++);
	return len;
}
#endif

esp_loader_error_t ESP_FLASH_Start(uint32_t address, uint32_t size)
{
	esp_loader_error_t err = ESP_LOADER_SUCCESS;

	printf("Erasing flash (this may take a while)...\n");
	err = esp_loader_flash_start(address, size, 1024);
	if (err != ESP_LOADER_SUCCESS) {
	    printf("Erasing flash failed with error %d.\n", err);
	    return err;
	}
	printf("Start programming\n");

	return err;
}

esp_loader_error_t ESP_FLASH_WriteBlock(uint8_t* payload, uint32_t size)
{
	esp_loader_error_t err = ESP_LOADER_SUCCESS;
    err = esp_loader_flash_write(payload, size);
    if (err != ESP_LOADER_SUCCESS) {
        printf("\nPacket could not be written! Error %d.\n", err);
        return err;
    }
    return err;
};

/* USER CODE END 4 */

void Error_Handler(void)
{
  __disable_irq();
  while (1)
  {
  }
}
